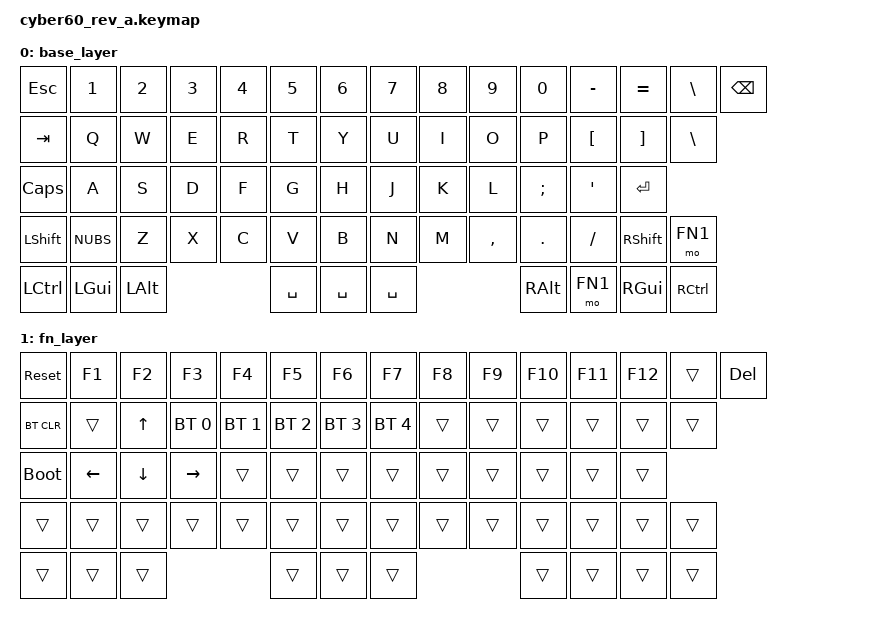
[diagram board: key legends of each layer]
#include <behaviors.dtsi>
#include <dt-bindings/zmk/bt.h>
#include <dt-bindings/zmk/keys.h>
#include <dt-bindings/zmk/rgb.h>
#include <dt-bindings/led/led.h>

&pinctrl {
    spi3_default: spi3_default {
        group1 {
            psels = <NRF_PSEL(SPIM_MOSI, 1, 2)>;
        };
    };

    spi3_sleep: spi3_sleep {
        group1 {
            psels = <NRF_PSEL(SPIM_MOSI, 1, 2)>;
            low-power-enable;
        };
    };
};

&spi3 {
    compatible = "nordic,nrf-spim";
    status = "okay";

    pinctrl-0 = <&spi3_default>;
    pinctrl-1 = <&spi3_sleep>;
    pinctrl-names = "default", "sleep";

    led_strip: ws2812@0 {
        compatible = "worldsemi,ws2812-spi";

        /* SPI */
        reg = <0>; /* ignored, but necessary for SPI bindings */
        spi-max-frequency = <4000000>;

        /* WS2812 */
        chain-length = <10>; /* arbitrary; change at will */
        spi-one-frame = <0x70>;
        spi-zero-frame = <0x40>;

        color-mapping = <LED_COLOR_ID_GREEN LED_COLOR_ID_RED LED_COLOR_ID_BLUE>;
    };
};

/ {
    chosen {
        zmk,underglow = &led_strip;
    };
};




#define FN1 1
/ {
	keymap {
		compatible = "zmk,keymap";
		base_layer {
// Base layer
// ------------------------------------------------------------------------------------------
// | ESC |  1  |  2  |  3  |  4  |  5  |  6  |  7  |  8  |  9  |  0  |  -  |  =  |   BKSP   |
// |  TAB |  Q  |  W  |  E  |  R  |  T  |  Y  |  U  |  I  |  O  |  P  |  [  |  ]  |   "|"   |
// | CAPS  |  A  |  S  |  D  |  F  |  G  |  H  |  J  |  K  |  L  |  ;  |  '  |NUHS| ENTER   |
// | SHIFT |NUBS| Z |  X  |  C  |  V  |  B  |  N  |  M  |  ,  |  .  |  /  |    Shift   | FN |
// |  LCTL  |  LWIN  |  LALT  | SPACE  | SPACE |    SPACE   |  RALT | FN  |   RWIN  | RCTRL |
// | Rotary | (<-- Rotary switch) ----------------------------------------------------------- 
				bindings = <
	&kp ESC		 &kp N1 	&kp N2		&kp N3		&kp N4	&kp N5 &kp N6 	&kp N7 	&kp N8 &kp N9	&kp N0	&kp MINUS	&kp EQUAL  	&kp BSLH	&kp BSPC
	&kp TAB		 &kp   Q   	&kp   W   	&kp   E   	&kp   R   &kp   T   &kp   Y   	&kp   U   	&kp   I   &kp   O   &kp   P   	&kp LBKT 	&kp RBKT	&kp BSLH
	&kp CLCK 	 &kp   A   	&kp   S   	&kp   D   	&kp   F   &kp   G   &kp   H   	&kp   J   	&kp   K   &kp   L   &kp  SEMI  	&kp  SQT  	&kp RET
	&kp LSHFT 	 &kp NUBS	&kp   Z   	&kp   X   	&kp   C   &kp   V   &kp   B   	&kp   N   	&kp   M   &kp  COMMA &kp  DOT  	&kp  FSLH	&kp RSHFT 	&mo FN1
	&kp LCTRL 	 &kp LGUI   &kp   LALT				&kp SPACE			&kp SPACE			&kp  SPACE  			  &kp  RALT &mo  FN1 	&kp RGUI	&kp  RCTRL		
			>;
		};
				fn_layer {
// Function layer
// ------------------------------------------------------------------------------------------
// | RESET | F1 |  F2 |  F3 |  F4 |  F5 |  F6 |  F7 |  F8 |  F9 | F10 | F11 | F12 |TRNS | DEL |
// |BT_CLR |TRNS | UP  | BT0 | BT1 | BT2 | BT3 | BT4 | TRNS | TRNS | TRNS | TRNS | TRNS | TRNS|
// | BOOTL  |LEFT |DOWN |RIGHT|TRNS |TRNS |TRNS | TRNS| TRNS |TRNS| TRNS |TRNS | TRNS | TRNS  |
// | TRNS |TRNS|TRNS|TRNS|TRNS | TRNS| TRNS | TRNS |  TRNS| TRNS | TRNS| TRNS |   TRNS   |TRNS|
// |  TRNS | TRNS | TRNS |      TRNS      | TRNS |     TRNS     |  TRNS |  TRNS | TRNS | TRNS |
// | Rotary | (<-- Rotary switch) ----------------------------------------------------------- 
			bindings = <
	&sys_reset 		&kp F1		&kp F2 	 		&kp F3			&kp F4			&kp F5			&kp F6			&kp F7			&kp F8			&kp F9			&kp F10		&kp F11		&kp F12		&trans	&kp DEL
	&bt BT_CLR		&trans  	&kp UP   		&bt BT_SEL 0  	&bt BT_SEL 1   	&bt BT_SEL 2	&bt BT_SEL 3   	&bt BT_SEL 4	&trans			&trans			&trans		&trans		&trans		&trans
	&bootloader 	&kp LEFT   	&kp DOWN		&kp RIGHT		&trans			&trans			&trans	&trans	&trans			&trans			&trans			&trans		&trans
	&trans 			&trans   	&trans &trans	&trans	&trans	&trans	&trans	&trans	&trans			&trans		&trans		&trans 		&trans
	&trans 			&trans   	&trans             								&trans			&trans			&trans  										&trans  	&trans		&trans		&trans		
			>;
		};
	};
};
